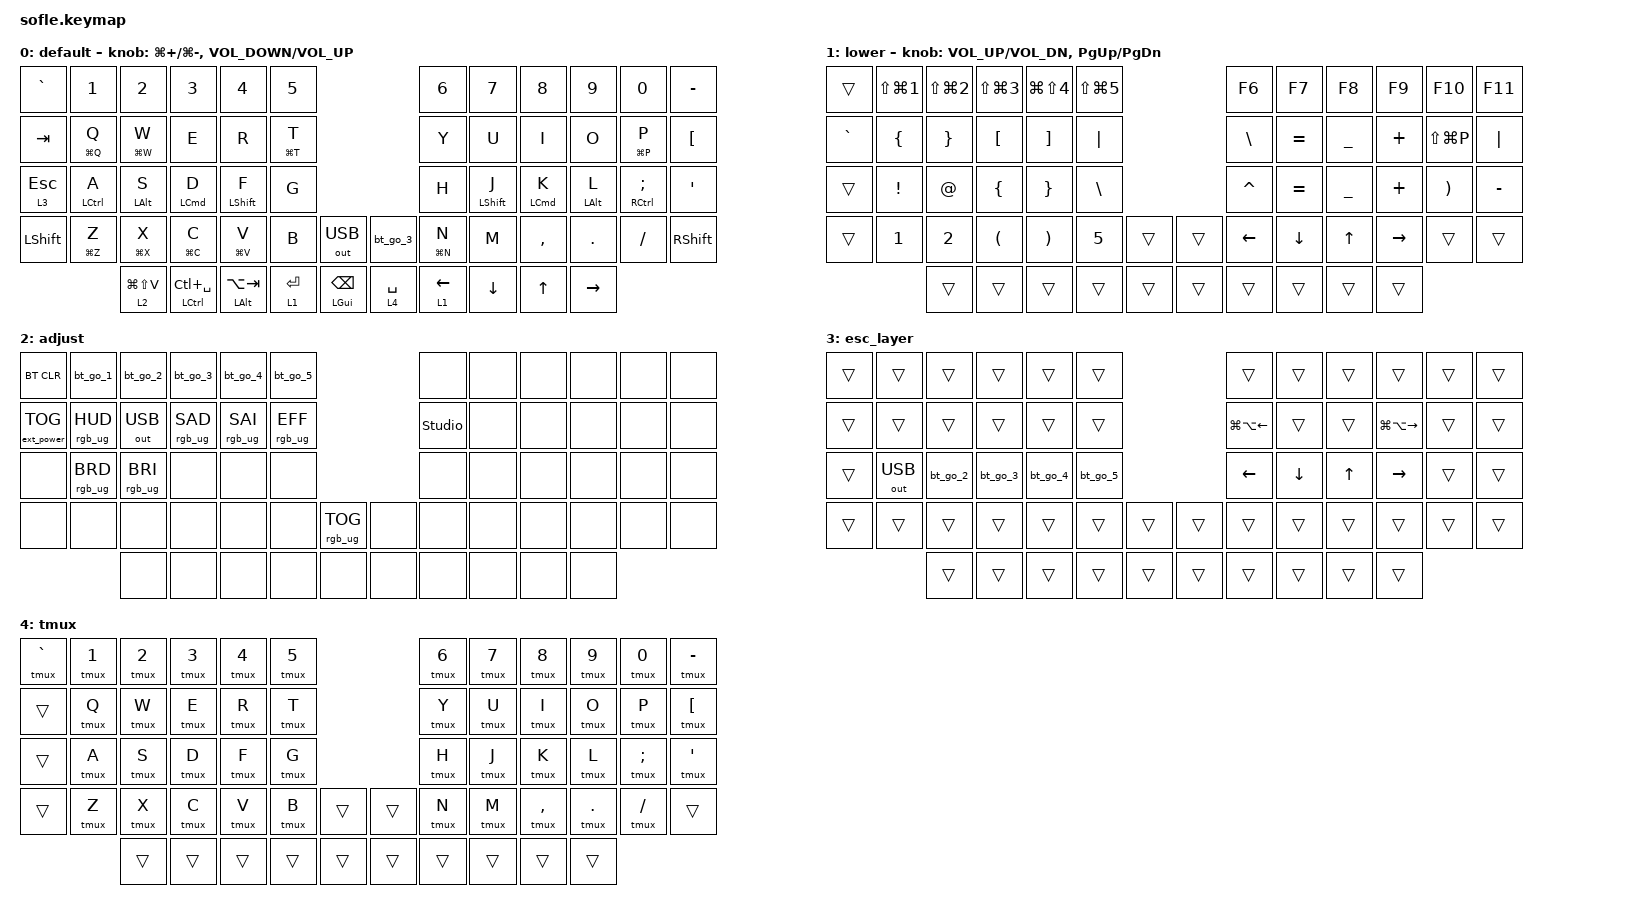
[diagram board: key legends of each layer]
/*
 * Copyright (c) 2020 The ZMK Contributors
 *
 * SPDX-License-Identifier: MIT
 */

#include <behaviors.dtsi>
#include <dt-bindings/zmk/bt.h>
#include <dt-bindings/zmk/ext_power.h>
#include <dt-bindings/zmk/keys.h>
#include <dt-bindings/zmk/outputs.h>
#include <dt-bindings/zmk/rgb.h>

#define BASE 0
#define LOWER 1
#define RAISE 2
#define ADJUST 3

/ {
    // Activate ADJUST layer by pressing raise and lower

    conditional_layers { compatible = "zmk,conditional-layers"; };

    behaviors {
        ht_tp: homerow_mods {
            compatible = "zmk,behavior-hold-tap";
            #binding-cells = <2>;
            tapping-term-ms = <250>;
            require-prior-idle-ms = <150>;
            quick-tap-ms = <200>;
            flavor = "tap-preferred";
            bindings = <&kp>, <&kp>;
        };
    };

    macros {
        bt_go_1: bt_go_0 {
            compatible = "zmk,behavior-macro";
            #binding-cells = <0>;
            bindings = <&bt BT_SEL 0 &out OUT_BLE>;
        };

        bt_go_2: bt_go_1 {
            compatible = "zmk,behavior-macro";
            #binding-cells = <0>;
            bindings = <&bt BT_SEL 1 &out OUT_BLE>;
        };

        bt_go_3: bt_go_2 {
            compatible = "zmk,behavior-macro";
            #binding-cells = <0>;
            bindings = <&bt BT_SEL 2 &out OUT_BLE>;
        };

        bt_go_4: bt_go_3 {
            compatible = "zmk,behavior-macro";
            #binding-cells = <0>;
            bindings = <&bt BT_SEL 3 &out OUT_BLE>;
        };

        bt_go_5: bt_go_4 {
            compatible = "zmk,behavior-macro";
            #binding-cells = <0>;
            bindings = <&bt BT_SEL 4 &out OUT_BLE>;
        };

        tmux: tmux {
            compatible = "zmk,behavior-macro-one-param";
            #binding-cells = <1>;
            wait-ms = <40>;
            tap-ms = <40>;
            bindings =
                <&macro_tap>,
                <&kp LC(A) &macro_param_1to1>,
                <&macro_tap>,
                <&kp MACRO_PLACEHOLDER>;
        };
    };

    keymap {
        compatible = "zmk,keymap";

        default_layer {
            display-name = "default";

            // ------------------------------------------------------------------------------------------------------------
            // |   `   |  1  |  2  |  3   |  4   |  5   |                   |  6   |  7    |  8    |  9   |   0   |       |
            // |  ESC  |  Q  |  W  |  E   |  R   |  T   |                   |  Y   |  U    |  I    |  O   |   P   | BKSPC |
            // |  TAB  |  A  |  S  |  D   |  F   |  G   |                   |  H   |  J    |  K    |  L   |   ;   |   '   |
            // | SHIFT |  Z  |  X  |  C   |  V   |  B   |  MUTE  |  |       |  N   |  M    |  ,    |  .   |   /   | SHIFT |
            //               | GUI | ALT  | CTRL | LOWER|  ENTER |  | SPACE | RAISE| CTRL  | ALT   | GUI  |

            bindings = <
&kp GRAVE     &kp N1          &kp N2             &kp N3               &kp N4               &kp N5                                                &kp N6          &kp N7               &kp N8         &kp N9             &kp N0                          &kp MINUS
&kp TAB       &ht_tp LG(Q) Q  &ht_tp LG(W) W     &kp E                &kp R                &ht_tp LG(T) T                                        &kp Y           &kp U                &kp I          &kp O              &ht_tp LG(P) P                  &kp LEFT_BRACKET
&lt 3 ESCAPE  &ht_tp LCTRL A  &ht_tp LEFT_ALT S  &ht_tp LCMD D        &ht_tp LEFT_SHIFT F  &kp G                                                 &kp H           &ht_tp LEFT_SHIFT J  &ht_tp LCMD K  &ht_tp LEFT_ALT L  &ht_tp RIGHT_CONTROL SEMICOLON  &kp SQT
&kp LSHFT     &ht_tp LG(Z) Z  &ht_tp LG(X) X     &ht_tp LG(C) C       &ht_tp LG(V) V       &kp B           &out OUT_USB             &bt_go_3     &ht_tp LG(N) N  &kp M                &kp COMMA      &kp DOT            &kp FSLH                        &kp RSHFT
                              &lt 2 LG(LS(V))    &mt LCTRL LC(SPACE)  &mt LALT LA(TAB)     &lt 1 ENTER     &ht_tp LGUI BACKSPACE    &lt 4 SPACE  &lt 1 LEFT      &kp DOWN             &kp UP_ARROW   &kp RIGHT
            >;

            sensor-bindings =
                <&inc_dec_kp LG(PLUS) LG(MINUS)>,
                <&inc_dec_kp C_VOLUME_DOWN C_VOLUME_UP>;
        };

        lower_layer {
            display-name = "lower";

            // TODO: Some binds are waiting for shifted keycode support.
            // ------------------------------------------------------------------------------------------------------------
            // |       |  F1 |  F2 |  F3  |  F4  |  F5  |                   |  F6  |  F7   |  F8   |  F9  |  F10  |  F11  |
            // |   `   |  1  |  2  |  3   |  4   |  5   |                   |  6   |  7    |  8    |  9   |   0   |  F12  |
            // |       |  !  |  @  |  #   |  $   |  %   |                   |  ^   |  &    |  *    |  (   |   )   |   |   |
            // |       |  =  |  -  |  +   |  {   |  }   |        |  |       |  [   |  ]    |  ;    |  :   |   \   |       |
            //               |     |      |      |      |        |  |       |      |       |       |      |

            bindings = <
&trans     &kp LS(LG(NUMBER_1))  &kp LS(LG(NUMBER_2))  &kp LS(LG(NUMBER_3))  &kp LG(LS(NUMBER_4))   &kp LS(LG(NUMBER_5))                    &kp F6         &kp F7          &kp F8          &kp F9     &kp F10        &kp F11
&kp GRAVE  &kp LEFT_BRACE        &kp RBRC              &kp LEFT_BRACKET      &kp RIGHT_BRACKET      &kp PIPE                                &kp BACKSLASH  &kp EQUAL       &kp UNDERSCORE  &kp PLUS   &kp LS(LG(P))  &kp PIPE
&trans     &kp EXCLAMATION       &kp AT                &kp LEFT_BRACE        &kp RIGHT_BRACE        &kp BACKSLASH                           &kp CARET      &kp EQUAL       &kp UNDER       &kp PLUS   &kp RPAR       &kp MINUS
&trans     &kp NUMBER_1          &kp NUMBER_2          &kp LEFT_PARENTHESIS  &kp RIGHT_PARENTHESIS  &kp N5                &trans    &trans  &kp LEFT       &kp DOWN_ARROW  &kp UP_ARROW    &kp RIGHT  &trans         &trans
                                 &trans                &trans                &trans                 &trans                &trans    &trans  &trans         &trans          &trans          &trans
            >;

            sensor-bindings = <&inc_dec_kp C_VOL_UP C_VOL_DN &inc_dec_kp PG_UP PG_DN>;
        };

        adjust_layer {
            // ----------------------------------------------------------------------------------------------------------------------------
            // | BTCLR  | BT1+BLE | BT2+BLE | BT3+BLE | BT4+BLE | BT5+BLE |                  |      |      |       |      |       |       |
            // | EXTPWR | RGB_HUD | OUT_USB | RGB_SAD | RGB_SAI | RGB_EFF |                  |      |      |       |      |       |       |
            // |        | RGB_BRD | RGB_BRI |         |         |         |                  |      |      |       |      |       |       |
            // |        |         |         |         |         |         | RGB_TOG | |      |      |      |       |      |       |       |
            //                    |         |         |         |         |         | |      |      |      |       |      |

            display-name = "adjust";
            bindings = <
&bt BT_CLR         &bt_go_1         &bt_go_2         &bt_go_3         &bt_go_4         &bt_go_5                                   &none           &none  &none  &none  &none  &none
&ext_power EP_TOG  &rgb_ug RGB_HUD  &out OUT_USB     &rgb_ug RGB_SAD  &rgb_ug RGB_SAI  &rgb_ug RGB_EFF                            &studio_unlock  &none  &none  &none  &none  &none
&none              &rgb_ug RGB_BRD  &rgb_ug RGB_BRI  &none            &none            &none                                      &none           &none  &none  &none  &none  &none
&none              &none            &none            &none            &none            &none            &rgb_ug RGB_TOG    &none  &none           &none  &none  &none  &none  &none
                                    &none            &none            &none            &none            &none              &none  &none           &none  &none  &none
            >;
        };

        esc_layer {
            bindings = <
&trans  &trans        &trans    &trans    &trans    &trans                      &trans            &trans    &trans        &trans             &trans  &trans
&trans  &trans        &trans    &trans    &trans    &trans                      &kp LG(LA(LEFT))  &trans    &trans        &kp LG(LA(RIGHT))  &trans  &trans
&trans  &out OUT_USB  &bt_go_2  &bt_go_3  &bt_go_4  &bt_go_5                    &kp LEFT          &kp DOWN  &kp UP_ARROW  &kp RIGHT          &trans  &trans
&trans  &trans        &trans    &trans    &trans    &trans    &trans    &trans  &trans            &trans    &trans        &trans             &trans  &trans
                      &trans    &trans    &trans    &trans    &trans    &trans  &trans            &trans    &trans        &trans
            >;
        };

        tmux {
            display-name = "tmux";

            // Every printable key sends Ctrl+A + that key (the tmux prefix).
            // ------------------------------------------------------------------------------------------------------------
            // |   `   |  1  |  2  |  3   |  4   |  5   |                   |  6   |  7    |  8    |  9   |   0   |   -   |
            // |       |  Q  |  W  |  E   |  R   |  T   |                   |  Y   |  U    |  I    |  O   |   P   |   [   |
            // |       |  A  |  S  |  D   |  F   |  G   |                   |  H   |  J    |  K    |  L   |   ;   |   '   |
            // |       |  Z  |  X  |  C   |  V   |  B   |        |  |       |  N   |  M    |  ,    |  .   |   /   |       |
            //                                                              | LEFT | DOWN  |  UP   | RGHT |

            bindings = <
&tmux GRAVE  &tmux N1  &tmux N2  &tmux N3  &tmux N4  &tmux N5                    &tmux N6  &tmux N7  &tmux N8     &tmux N9   &tmux N0         &tmux MINUS
&trans       &tmux Q   &tmux W   &tmux E   &tmux R   &tmux T                     &tmux Y   &tmux U   &tmux I      &tmux O    &tmux P          &tmux LEFT_BRACKET
&trans       &tmux A   &tmux S   &tmux D   &tmux F   &tmux G                     &tmux H   &tmux J   &tmux K      &tmux L    &tmux SEMICOLON  &tmux SQT
&trans       &tmux Z   &tmux X   &tmux C   &tmux V   &tmux B   &trans    &trans  &tmux N   &tmux M   &tmux COMMA  &tmux DOT  &tmux FSLH       &trans
                       &trans    &trans    &trans    &trans    &trans    &trans  &trans    &trans    &trans       &trans
            >;
        };
    };
};
